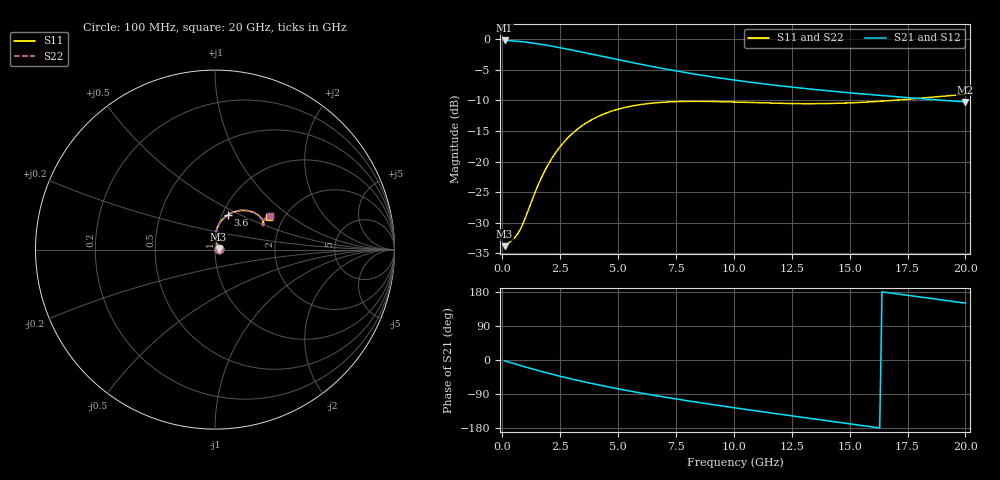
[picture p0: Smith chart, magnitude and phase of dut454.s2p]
! Touchstone file exported from HFSS 2024.1.0
!  File:  C:/UserFiles/LocalFiles/RDL_TSV_Batchsim/temp_RDL_TSV_454_1779725894.aedt
!  Generated:  12:40:36 AM May 26, 2026
!  Design:  RDL_TSV
!  Project:  temp_RDL_TSV_454_1779725894
!  Setup:  Setup1
!  Solution:  Sweep
! Variables:
!  dtsv = 9.09um
!  hbump = 3um
!  htsv = 90.33um
!  ldown = 646.64um
!  lrdl = 206.81um
!  p = 40
!  p1 = 56.93um
!  rhole = 10um
!  subl = 2767.16um
!  t = 450um
!  tdown = 2.8um
!  trdl = 2.57um
!  viad = 10um
!  wdown = 21.65um
!  wrdl = 13.75um
!  xbump = 18um
# GHz S MA R 50.000000
! Terminal data exported
! Port[1] = TM1_1_T1
! Port[2] = TM1_4_T1
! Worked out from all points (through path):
!   200 points, 100 MHz to 20 GHz, reference 50 ohm
!   highest |S21| = -0.18 dB at 100 MHz (marker M1); lowest = -10.2 dB at 20 GHz (marker M2)
!   group delay of S21, straight-line fit = 27.2 ps
!   lowest |S11| = -33.8 dB at 100 MHz (marker M3), VSWR 1.04, Z = 52.1 + j0.323 ohm
!   |S11| at or under -10 dB: start of sweep to 16.8 GHz
!   |S22| runs from -33.8 to -9.0 dB; largest |S21 - S12| = 2.6e-13
!   S11 on the Smith chart (normalised r, x): 100 MHz: 1.04, +0.01; 3.6 GHz: 1.06, +0.43; 20 GHz: 1.68, +0.71
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0.1  0.02036 8.8  0.9794 -1.9  0.9794 -1.9  0.02036 8.8
! Gamma 0 0 0 0
! Port Impedance 50 0 50 0
0.5  0.02352 38.2  0.9707 -9.5  0.9707 -9.5  0.0235 38.2
0.7  0.0263 52.8  0.9636 -13.1  0.9636 -13.1  0.02628 52.9
0.8  0.02849 59.8  0.9594 -14.9  0.9594 -14.9  0.02848 59.9
1.5  0.06132 85.9  0.9218 -27.1  0.9218 -27.1  0.06142 86.1
1.8  0.08161 87.3  0.9025 -32.0  0.9025 -32.0  0.08177 87.4
2.2  0.1107 85.4  0.8751 -38.3  0.8751 -38.3  0.111 85.5
2.6  0.1401 81.5  0.8467 -44.4  0.8467 -44.4  0.1405 81.6
3  0.1681 76.9  0.8181 -50.2  0.8181 -50.2  0.1686 77.0
3.5  0.1999 70.9  0.7824 -57.2  0.7824 -57.2  0.2004 71.0
3.6  0.2057 69.7  0.7754 -58.5  0.7754 -58.5  0.2063 69.8
4.3  0.2414 61.7  0.7274 -67.6  0.7274 -67.6  0.2421 61.8
5  0.2683 54.5  0.6824 -76.1  0.6824 -76.1  0.2691 54.7
5.9  0.2915 46.8  0.6298 -86.3  0.6298 -86.3  0.2924 46.9
6.8  0.3046 40.5  0.5837 -95.8  0.5837 -95.8  0.3055 40.6
8.3  0.3114 32.9  0.5202 -110.4  0.5202 -110.4  0.3124 33.1
10.1  0.3069 28.0  0.4623 -126.8  0.4623 -126.8  0.308 28.1
11.7  0.3005 26.5  0.4232 -140.6  0.4232 -140.6  0.3016 26.7
13.4  0.2977 27.2  0.3905 -155.0  0.3905 -155.0  0.2988 27.4
15  0.3022 28.9  0.3656 -168.5  0.3656 -168.5  0.3033 29.1
16.7  0.3152 30.6  0.3432 177.4  0.3432 177.4  0.3163 30.8
20  0.355 31.2  0.3079 150.1  0.3079 150.1  0.3563 31.5
